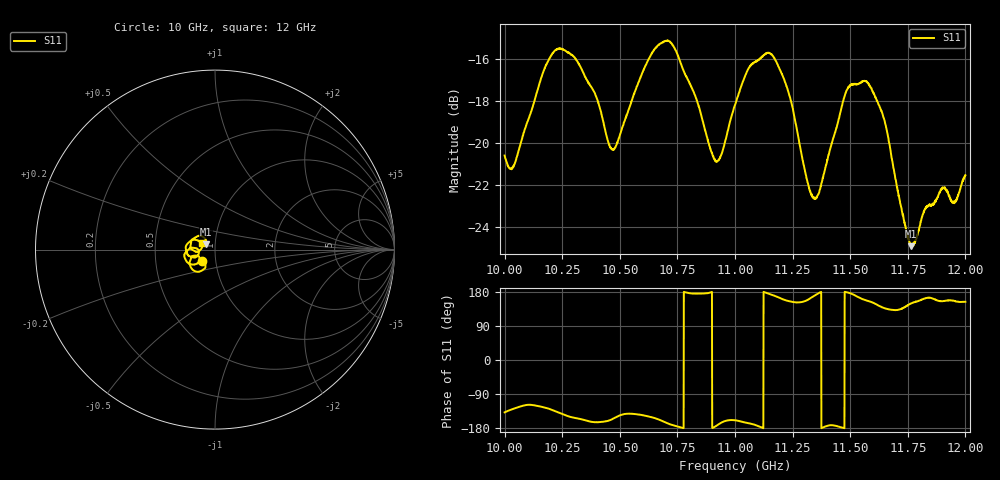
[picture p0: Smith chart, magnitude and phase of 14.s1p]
[Version] 2.0
! Rohde & Schwarz Vector Network Analyzer
! Rohde-Schwarz,ZNL20-2Port,1323001220200009,1.71.1.10-23.02.1.238
! Port Assignments:
! Nominal Port -> Actual Test Port
!  1 -> 1
! Created: GMT 2024-08-27 13:54:17
# Hz S DB R 50
[Number of Ports] 1
! freq[Hz]  S11[mag dB]  S11[ang]
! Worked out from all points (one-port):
!   2001 points, 10 GHz to 12 GHz, reference 50 ohm
!   lowest |S11| = -24.9 dB at 11.77 GHz (marker M1), VSWR 1.12, Z = 45.2 + j2.61 ohm
!   |S11| at or under -10 dB: start of sweep to end of sweep
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[Number of Frequencies] 28
[Network Data]
1e10  -20.59 -138.2
1.004e10  -21.06 -128.5
1.0175e10  -16.43 -125.4
1.025e10  -15.53 -142.6
1.0388e10  -17.54 -163.9
1.046e10  -20.20 -158.1
1.05e10  -19.63 -146.1
1.0646e10  -15.62 -152.3
1.0708e10  -15.14 -167.3
1.075e10  -15.77 -175.3
1.0917e10  -20.86 -174.3
1.1e10  -18.20 -159.0
1.1061e10  -16.41 -167.2
1.1145e10  -15.72 175.2
1.1203e10  -16.71 161.5
1.125e10  -18.31 153.2
1.1315e10  -21.87 158.5
1.1349e10  -22.63 171.2
1.142e10  -20.01 -172.1
1.15e10  -17.24 176.2
1.1572e10  -17.07 156.8
1.1634e10  -18.43 140.4
1.175e10  -24.51 144.2
1.1765e10  -24.89 149.6
1.1831e10  -23.05 163.4
1.1903e10  -22.12 155.4
1.1954e10  -22.81 155.7
1.2e10  -21.53 153.7
[End]
